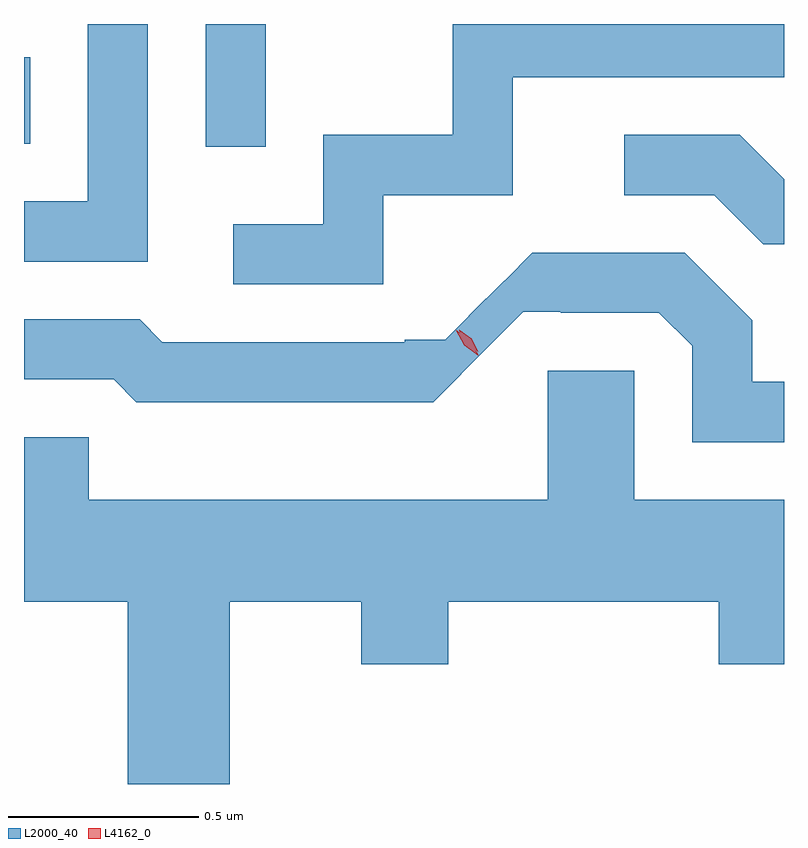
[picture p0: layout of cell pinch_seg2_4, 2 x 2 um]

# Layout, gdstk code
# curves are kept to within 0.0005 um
import gdstk
lib = gdstk.Library(unit=1e-6, precision=1e-09)
def R(c, l, rs):  # rectangles x0, y0, x1, y1
    for r in rs: c.add(gdstk.rectangle(r[:2], r[2:], *l))
def P(c, l, *ps):  # polygons
    for p in ps: c.add(gdstk.Polygon(p, *l))
L2000_40 = (2000, 40)
L4162_0 = (4162, 0)

pinch_seg2_4 = lib.new_cell('pinch_seg2_4')
R(pinch_seg2_4, L2000_40, [(1733.761,1111.673,1733.919,1111.996), (1733.283,1111.681,1733.299,1111.909)])
P(pinch_seg2_4, L2000_40, [(1734.229,1111.546),(1734.569,1111.546),(1734.569,1111.856),(1735.283,1111.856),(1735.283,1111.996),(1734.411,1111.996),(1734.411,1111.704),(1734.071,1111.704),(1734.071,1111.469),(1733.833,1111.469),(1733.833,1111.311),(1734.229,1111.311)],
  [(1733.609,1111.996),(1733.451,1111.996),(1733.451,1111.529),(1733.283,1111.529),(1733.283,1111.371),(1733.609,1111.371)],
  [(1735.283,1111.588),(1735.167,1111.704),(1734.863,1111.704),(1734.863,1111.546),(1735.099,1111.546),(1735.229,1111.416),(1735.283,1111.416)],
  [(1735.283,1111.054),(1735.199,1111.054),(1735.199,1111.217),(1735.022,1111.394),(1734.621,1111.394),(1734.548,1111.321),(1734.547,1111.321),(1734.392,1111.165),(1734.285,1111.165),(1734.285,1111.159),(1733.647,1111.159),(1733.587,1111.219),(1733.283,1111.219),(1733.283,1111.061),(1733.519,1111.061),(1733.579,1111.001),(1734.36,1111.001),(1734.597,1111.239),(1734.695,1111.239),(1734.695,1111.236),(1734.954,1111.236),(1735.041,1111.149),(1735.041,1110.896),(1735.283,1110.896)],
  [(1733.824,1110.476),(1734.171,1110.476),(1734.171,1110.311),(1734.399,1110.311),(1734.399,1110.476),(1735.111,1110.476),(1735.111,1110.311),(1735.283,1110.311),(1735.283,1110.744),(1734.889,1110.744),(1734.889,1111.084),(1734.661,1111.084),(1734.661,1110.744),(1733.454,1110.744),(1733.454,1110.909),(1733.283,1110.909),(1733.283,1110.476),(1733.556,1110.476),(1733.556,1109.996),(1733.824,1109.996)])
P(pinch_seg2_4, L4162_0, [(1734.477,1111.124),(1734.441,1111.151),(1734.419,1111.191),(1734.419,1111.192),(1734.419,1111.192),(1734.456,1111.164),(1734.478,1111.125),(1734.478,1111.124)],
  [(1734.478,1111.133),(1734.446,1111.155),(1734.428,1111.19),(1734.428,1111.191),(1734.428,1111.191),(1734.461,1111.168),(1734.479,1111.133),(1734.479,1111.133)])

lib.write_gds('pinch_seg2_4.gds')
